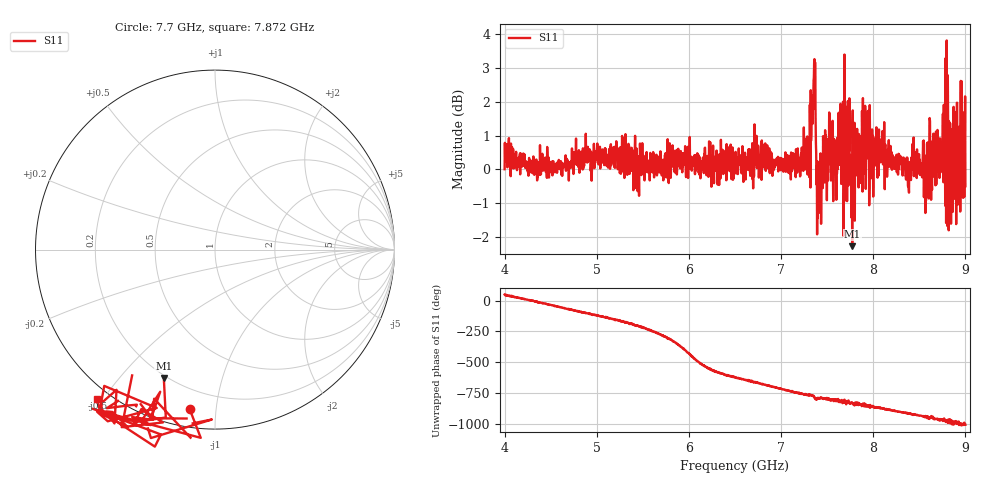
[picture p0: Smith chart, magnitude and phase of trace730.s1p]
! Created with skrf 1.8.0 (http://scikit-rf.org).
# Hz S RI R 50.0
!freq ReS11 ImS11
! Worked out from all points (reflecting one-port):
!   1601 points, 4 GHz to 9 GHz, reference 50 ohm
!   lowest |S11| = -2.3 dB at 7.772 GHz (marker M1), VSWR 7.68, Z = 9.43 - j33.1 ohm
!   phase of S11 starts at 49 deg and turns -1057 deg over the sweep
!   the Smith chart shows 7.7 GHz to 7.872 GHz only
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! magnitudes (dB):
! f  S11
! 4 GHz  0.0
! 4.625 GHz  -0.2
! 5.25 GHz  -0.1
! 5.875 GHz  0.3
! 6.5 GHz  0.1
! 6.728 GHz  0.9
! 7.125 GHz  0.3
! 7.294 GHz  -0.1
! 7.347 GHz  2.2
! 7.369 GHz  3.2
! 7.409 GHz  -1.3
! 7.503 GHz  -0.3
! 7.591 GHz  0.5
! 7.65 GHz  1.7
! 7.75 GHz  0.3
! 7.772 GHz  -2.3
! 7.922 GHz  0.4
! 7.981 GHz  -0.3
! 8.097 GHz  0.4
! 8.375 GHz  -0.2
! 8.441 GHz  -0.2
! 8.581 GHz  0.0
! 8.675 GHz  -0.5
! 8.725 GHz  0.9
! 8.791 GHz  -1.6
! 8.844 GHz  -1.6
! 8.972 GHz  0.2
! 9 GHz  -0.5
